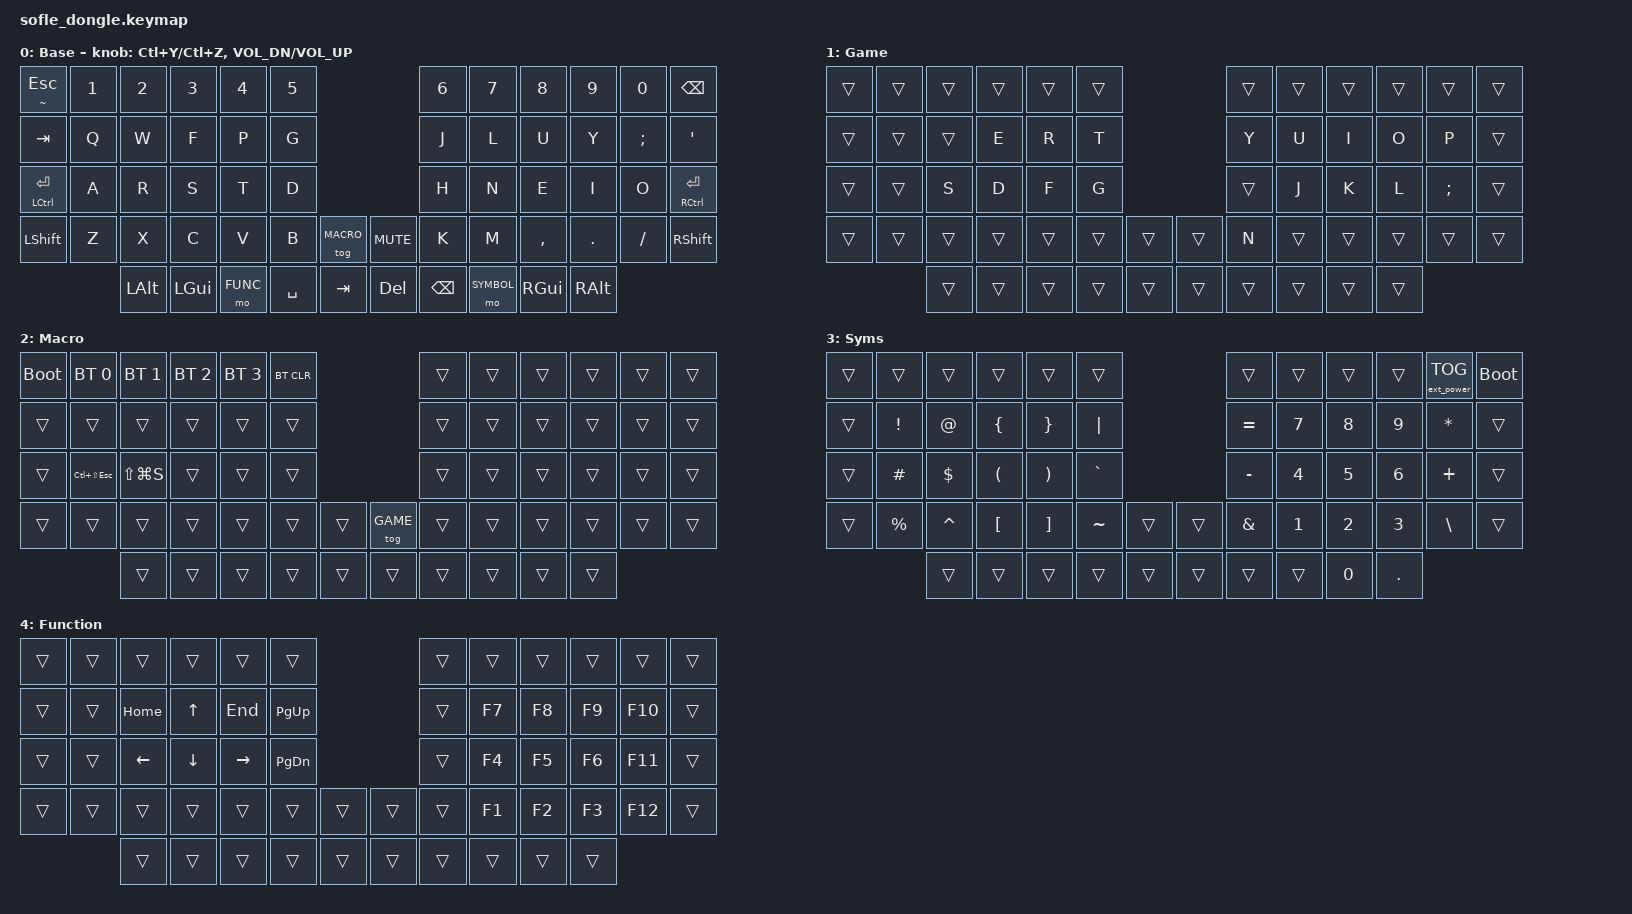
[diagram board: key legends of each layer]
#include <behaviors.dtsi>
#include <dt-bindings/zmk/keys.h>
#include <dt-bindings/zmk/ext_power.h>
#include <dt-bindings/zmk/bt.h>
#include "zmk-helpers/helper.h"
#include "zmk-helpers/key-labels/lily58.h"

// Define layer numbers

#define ___ &trans
#define BASE 0
#define GAME 1
#define MACRO 2
#define SYMBOL 3
#define FUNC 4

/ {
    behaviors {
        hrm: hrm {
            label = "hrm";
            compatible = "zmk,behavior-hold-tap";
            #binding-cells = <2>;
            flavor = "balanced";
            tapping-term-ms = <280>;
            quick-tap-ms = <125>;
            global-quick-tap;
            bindings =
                <&kp>,
                <&kp>;
        };
    };

    sensors {
        triggers-per-rotation = <20>;
    };
};

&nice_view_spi {
    cs-gpios = <&pro_micro 0 GPIO_ACTIVE_HIGH>;
};

&left_encoder {
    steps = <80>;
};

&right_encoder {
    steps = <80>;
};

/ {
    keymap {
        compatible = "zmk,keymap";

        colemak {
            label = "Base";
            bindings = <
&hrm TILDE ESC  &kp N1       &kp N2       &kp N3        &kp N4             &kp N5                                          &kp N6             &kp N7              &kp N8        &kp N9       &kp N0          &kp BACKSPACE
&kp TAB         &kp Q        &kp W        &kp F         &kp P              &kp G                                           &kp J              &kp L               &kp U         &kp Y        &kp SEMI        &kp SQT
&mt LCTL ENTER  &kp A        &kp R        &kp S         &kp T              &kp D                                           &kp H              &kp N               &kp E         &kp I        &kp O           &mt RCTL ENTER
&kp LSHFT       &kp Z        &kp X        &kp C         &kp V              &kp B          &tog MACRO      &kp C_MUTE       &kp K              &kp M               &kp COMMA     &kp DOT      &kp FSLH        &kp RSHFT
                             &kp LALT     &kp LGUI      &mo FUNC           &kp SPACE      &kp TAB         &kp DEL          &kp BKSP           &mo SYMBOL          &kp RGUI      &kp RALT
            >;
            sensor-bindings = <&inc_dec_kp LC(Y) LC(Z) &inc_dec_kp C_VOL_DN C_VOL_UP>;
        };

        game {
            label = "Game";
            bindings = <
&trans       &trans              &trans         &trans        &trans        &trans                      &trans  &trans  &trans  &trans  &trans    &trans
&trans       &trans              &trans         &kp E         &kp R         &kp T                       &kp Y   &kp U   &kp I   &kp O   &kp P     &trans
&trans       &trans              &kp S          &kp D         &kp F         &kp G                       &trans  &kp J   &kp K   &kp L   &kp SEMI  &trans
&trans       &trans              &trans         &trans        &trans        &trans      &trans  &trans  &kp N   &trans  &trans  &trans  &trans    &trans
                                 &trans         &trans        &trans        &trans      &trans  &trans  &trans  &trans  &trans  &trans
            >;
        };

        macro {
            label = "Macro";
            bindings = <
&bootloader  &bt BT_SEL 0        &bt BT_SEL 1   &bt BT_SEL 2  &bt BT_SEL 3  &bt BT_CLR                        &trans  &trans  &trans  &trans  &trans  &trans
&trans       &trans              &trans         &trans        &trans        &trans                            &trans  &trans  &trans  &trans  &trans  &trans
&trans       &kp LC(LS(ESCAPE))  &kp LS(LG(S))  &trans        &trans        &trans                            &trans  &trans  &trans  &trans  &trans  &trans
&trans       &trans              &trans         &trans        &trans        &trans      &trans     &tog GAME  &trans  &trans  &trans  &trans  &trans  &trans
                                 &trans         &trans        &trans        &trans      &trans     &trans     &trans  &trans  &trans  &trans
            >;
        };

        symbol {
            label = "Syms";
            bindings = <
&trans  &trans            &trans         &trans            &trans           &trans                      &trans      &trans      &trans          &trans      &ext_power EP_TOG       &bootloader
&trans  &kp EXCL          &kp AT         &kp LBRC          &kp RBRC         &kp PIPE                    &kp EQUAL   &kp N7      &kp N8          &kp N9      &kp ASTRK               &trans
&trans  &kp HASH          &kp DLLR       &kp LPAR          &kp RPAR         &kp GRAVE                   &kp MINUS   &kp N4      &kp N5          &kp N6      &kp PLUS                &trans
&trans  &kp PRCNT         &kp CARET      &kp LBKT          &kp RBKT         &kp TILDE   &trans  &trans  &kp AMPS    &kp N1      &kp N2          &kp N3      &kp BSLH                &trans
                          &trans         &trans            &trans           &trans      &trans  &trans  &trans      &trans      &kp N0          &kp DOT
            >;
        };

        function {
            label = "Function";
            bindings = <
&trans  &trans      &trans   &trans   &trans    &trans                       &trans  &trans  &trans   &trans   &trans   &trans
&trans  &trans      &kp HOME &kp UP   &kp END   &kp PG_UP                    &trans  &kp F7  &kp F8   &kp F9   &kp F10  &trans
&trans  &trans      &kp LEFT &kp DOWN &kp RIGHT &kp PG_DN                    &trans  &kp F4  &kp F5   &kp F6   &kp F11  &trans
&trans  &trans      &trans   &trans   &trans    &trans       &trans  &trans  &trans  &kp F1  &kp F2   &kp F3   &kp F12  &trans
                    &trans   &trans   &trans    &trans       &trans  &trans  &trans  &trans  &trans   &trans
            >;
        };

    };
};
